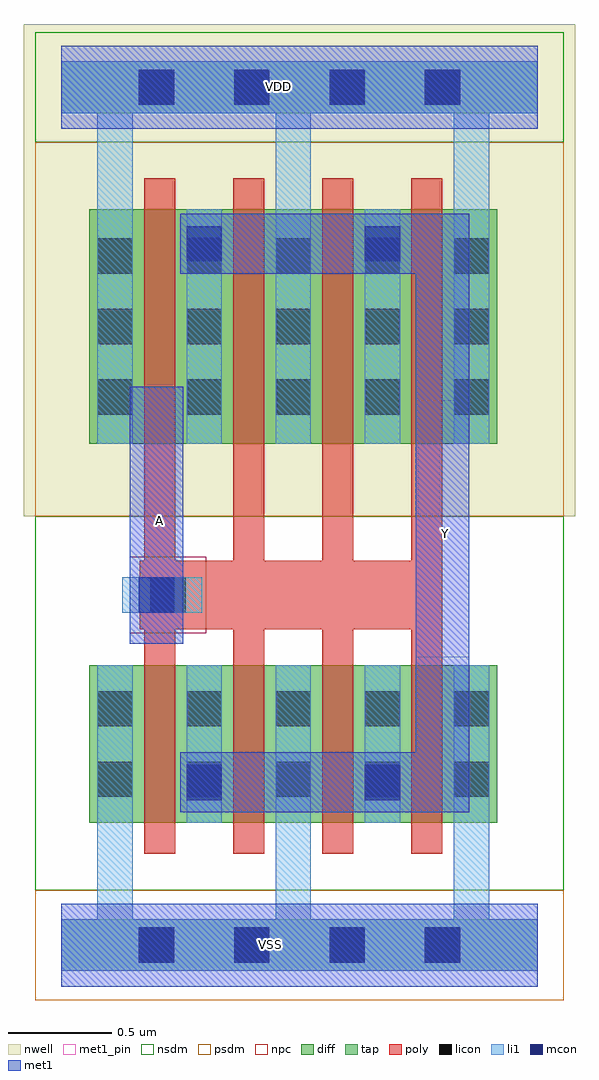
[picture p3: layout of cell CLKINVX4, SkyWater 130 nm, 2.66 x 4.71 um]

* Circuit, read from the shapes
.subckt CLKINVX4 A VDD VSS Y
XM1 Y A VSS VSS sky130_fd_pr__nfet_01v8 w=0.76 l=0.15 m=4
XM2 Y A VDD VDD sky130_fd_pr__pfet_01v8 w=1.13 l=0.15 m=4
.ends

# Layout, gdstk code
import gdstk
lib = gdstk.Library(unit=1e-6, precision=1e-09)
def R(c, l, rs):  # rectangles x0, y0, x1, y1
    for r in rs: c.add(gdstk.rectangle(r[:2], r[2:], *l))
def A(c, l, x, y, w, h, nx, ny, dx, dy):  # array of equal rectangles
    R(c, l, [(x+i*dx, y+j*dy, x+i*dx+w, y+j*dy+h) for i in range(nx) for j in range(ny)])
def P(c, l, *ps):  # polygons
    for p in ps: c.add(gdstk.Polygon(p, *l))
nwell = (64, 20)
diff = (65, 20)
tap = (65, 44)
poly = (66, 20)
licon = (66, 44)
li1 = (67, 20)
mcon = (67, 44)
met1_pin = (68, 16)
met1 = (68, 20)
nsdm = (93, 44)
psdm = (94, 20)
npc = (95, 20)

pyl1con_c_cdns_751554744 = lib.new_cell('PYL1CON_C_CDNS_751554744751')
R(pyl1con_c_cdns_751554744, poly, [(-0.135,-0.165,0.135,0.165)])
R(pyl1con_c_cdns_751554744, licon, [(-0.085,-0.085,0.085,0.085)])
R(pyl1con_c_cdns_751554744, npc, [(-0.185,-0.185,0.185,0.185)])

l1m1_c_cdns_751554744750 = lib.new_cell('L1M1_C_CDNS_751554744750$$8')
R(l1m1_c_cdns_751554744750, li1, [(-0.085,-0.165,0.085,0.165)])
R(l1m1_c_cdns_751554744750, mcon, [(-0.085,-0.085,0.085,0.085)])
R(l1m1_c_cdns_751554744750, met1, [(-0.115,-0.145,0.115,0.145)])

c_l1m1_c_cdns_751554744750 = lib.new_cell('L1M1_C_CDNS_751554744750$$9')
R(c_l1m1_c_cdns_751554744750, li1, [(-0.165,-0.085,0.165,0.085)])
R(c_l1m1_c_cdns_751554744750, mcon, [(-0.085,-0.085,0.085,0.085)])
R(c_l1m1_c_cdns_751554744750, met1, [(-0.115,-0.145,0.115,0.145)])

clkinvx4 = lib.new_cell('CLKINVX4')
R(clkinvx4, nwell, [(-0.18,2.07,2.48,4.445)])
R(clkinvx4, diff, [(0.135,0.59,2.105,1.35), (0.135,2.42,2.105,3.55)])
P(clkinvx4, poly, [(1.84,3.7),(1.69,3.7),(1.69,1.855),(1.41,1.855),(1.41,3.7),(1.26,3.7),(1.26,1.855),(0.98,1.855),(0.98,3.7),(0.83,3.7),(0.83,1.855),(0.55,1.855),(0.55,3.7),(0.4,3.7),(0.4,0.44),(0.55,0.44),(0.55,1.525),(0.83,1.525),(0.83,0.44),(0.98,0.44),(0.98,1.525),(1.26,1.525),(1.26,0.44),(1.41,0.44),(1.41,1.525),(1.69,1.525),(1.69,0.44),(1.84,0.44)])
A(clkinvx4, licon, 0.375, -0.085, 0.17, 0.17, 4, 2, 0.46, 4.14)
A(clkinvx4, licon, 0.175, 0.715, 0.17, 0.17, 5, 2, 0.43, 0.34)
A(clkinvx4, licon, 0.175, 2.56, 0.17, 0.17, 5, 3, 0.43, 0.34)
R(clkinvx4, li1, [(0.605,0.59,0.775,1.35), (1.465,0.59,1.635,1.35), (0.605,2.42,0.775,3.55), (1.465,2.42,1.635,3.55)])
P(clkinvx4, li1, [(2.3,4.265),(0,4.265),(0,4.015),(0.175,4.015),(0.175,2.42),(0.345,2.42),(0.345,4.015),(1.035,4.015),(1.035,2.42),(1.205,2.42),(1.205,4.015),(1.895,4.015),(1.895,2.42),(2.065,2.42),(2.065,4.015),(2.3,4.015)],
  [(2.3,0.125),(2.065,0.125),(2.065,1.35),(1.895,1.35),(1.895,0.125),(1.205,0.125),(1.205,1.35),(1.035,1.35),(1.035,0.125),(0.345,0.125),(0.345,1.35),(0.175,1.35),(0.175,0.125),(0,0.125),(0,-0.125),(2.3,-0.125)])
A(clkinvx4, mcon, 0.375, -0.085, 0.17, 0.17, 4, 2, 0.46, 4.14)
R(clkinvx4, met1_pin, [(1.71,1.39,1.97,2.63), (0.33,1.455,0.59,2.695)])
P(clkinvx4, met1, [(1.97,3.53),(0.575,3.53),(0.575,3.24),(1.71,3.24),(1.71,0.93),(0.575,0.93),(0.575,0.64),(1.97,0.64)])
R(clkinvx4, nsdm, [(-0.125,0.265,2.425,2.07), (-0.125,3.875,2.425,4.405)])
R(clkinvx4, psdm, [(-0.125,-0.265,2.425,0.265), (-0.125,2.07,2.425,3.875)])
clkinvx4.add(gdstk.FlexPath([(0.46,1.69),(0.68,1.69)], 0.17, ends="flush", simple_path=True, layer=67, datatype=20))  # li1
clkinvx4.add(gdstk.FlexPath([(0,4.14),(2.3,4.14)], 0.25, ends="flush", simple_path=True, layer=65, datatype=44))  # tap
clkinvx4.add(gdstk.FlexPath([(0,0),(2.3,0)], 0.25, ends="flush", simple_path=True, layer=65, datatype=44))  # tap
clkinvx4.add(gdstk.FlexPath([(0.46,1.455),(0.46,2.695)], 0.26, ends="flush", simple_path=True, layer=68, datatype=20))  # met1
clkinvx4.add(gdstk.FlexPath([(0,4.14),(2.3,4.14)], 0.4, ends="flush", simple_path=True, layer=68, datatype=20))  # met1
clkinvx4.add(gdstk.FlexPath([(0,0),(2.3,0)], 0.4, ends="flush", simple_path=True, layer=68, datatype=20))  # met1
clkinvx4.add(gdstk.FlexPath([(0,0),(2.3,0)], 0.4, ends="flush", simple_path=True, layer=68, datatype=16))  # met1_pin
clkinvx4.add(gdstk.FlexPath([(0,4.14),(2.3,4.14)], 0.4, ends="flush", simple_path=True, layer=68, datatype=16))  # met1_pin
clkinvx4.add(gdstk.Reference(pyl1con_c_cdns_751554744, (0.515,1.69)))
clkinvx4.add(gdstk.Reference(l1m1_c_cdns_751554744750, (0.69,3.385)))
clkinvx4.add(gdstk.Reference(l1m1_c_cdns_751554744750, (1.55,0.785)))
clkinvx4.add(gdstk.Reference(l1m1_c_cdns_751554744750, (1.55,3.385)))
clkinvx4.add(gdstk.Reference(l1m1_c_cdns_751554744750, (0.69,0.785)))
clkinvx4.add(gdstk.Reference(c_l1m1_c_cdns_751554744750, (0.46,1.69), x_reflection=True))
clkinvx4.add(gdstk.Label('VSS', (1.01,0.005), layer=68, texttype=5))
clkinvx4.add(gdstk.Label('Y', (1.855,1.985), layer=68, texttype=5))
clkinvx4.add(gdstk.Label('A', (0.475,2.05), layer=68, texttype=5))
clkinvx4.add(gdstk.Label('VDD', (1.05,4.145), layer=68, texttype=5))

lib.write_gds('CLKINVX4.gds')
